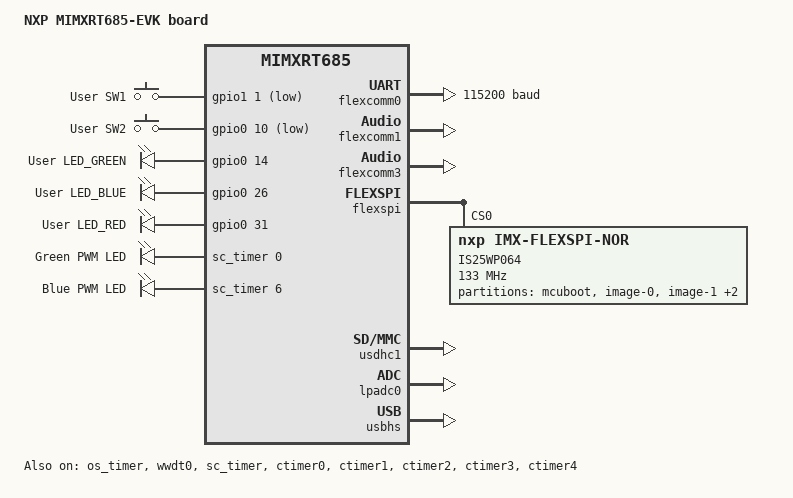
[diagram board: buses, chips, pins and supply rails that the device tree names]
/*
 * Copyright (c) 2020, NXP
 *
 * SPDX-License-Identifier: Apache-2.0
 */

/dts-v1/;

#include <nxp/nxp_rt6xx.dtsi>
#include <dt-bindings/pwm/pwm.h>

/ {
	model = "NXP MIMXRT685-EVK board";
	compatible = "nxp,mimxrt685";

	aliases {
		sw0 = &user_button_1;
		sw1 = &user_button_2;
		led0 = &green_led;
		led1 = &blue_led;
		led2 = &red_led;
		usart-0 = &flexcomm0;
		/* For pwm test suites */
		pwm-0 = &sc_timer;
		pwm-led0 = &green_pwm_led;
		green-pwm-led = &green_pwm_led;
		blue-pwm-led = &blue_pwm_led;
		red-pwm-led = &red_pwm_led;
		watchdog0 = &wwdt0;
	};

	chosen {
		zephyr,flash-controller = &flexspi;
		zephyr,flash = &is25wp064;
		zephyr,code-partition = &slot0_partition;
		zephyr,sram = &sram0;
		zephyr,console = &flexcomm0;
		zephyr,shell-uart = &flexcomm0;
	};

	gpio_keys {
		compatible = "gpio-keys";
		user_button_1: button_0 {
			label = "User SW1";
			gpios = <&gpio1 1 GPIO_ACTIVE_LOW>;
		};
		user_button_2: button_1 {
			label = "User SW2";
			gpios = <&gpio0 10 GPIO_ACTIVE_LOW>;
		};
	};

	leds {
		compatible = "gpio-leds";
		green_led: led_1 {
			gpios = <&gpio0 14 0>;
			label = "User LED_GREEN";
		};
		blue_led: led_2 {
			gpios = <&gpio0 26 0>;
			label = "User LED_BLUE";
		};
		red_led: led_3 {
			gpios = <&gpio0 31 0>;
			label = "User LED_RED";
		};
	};

	pwmleds {
		compatible = "pwm-leds";
		green_pwm_led: green_pwm_led {
			pwms = <&sc_timer 0 PWM_POLARITY_NORMAL>;
			label = "Green PWM LED";
			status = "okay";
		};
		blue_pwm_led: blue_pwm_led {
			pwms = <&sc_timer 6 PWM_POLARITY_NORMAL>;
			label = "Blue PWM LED";
			status = "okay";
		};
		red_pwm_led: red_pwm_led {
			pwms = <&sc_timer 6 PWM_POLARITY_NORMAL>;
			label = "Red PWM LED";
			status = "disabled";
		};
	};

	
	power-states {
		idle: idle {
			compatible = "zephyr,power-state";
			power-state-name = "runtime-idle";
			min-residency-us = <10>;
		};
		suspend: suspend {
			compatible = "zephyr,power-state";
			power-state-name = "suspend-to-idle";
			min-residency-us = <1000>;
		};
	};
};

&cpu0 {
	cpu-power-states = <&idle &suspend>;
};

/*
 * RT600 EVK board uses OS timer as the kernel timer
 * In case we need to switch to SYSTICK timer, then
 * replace &os_timer with &systick
 */
&os_timer {
	status = "okay";
};

&rtc {
	status = "disabled";
};

&flexcomm0 {
	compatible = "nxp,lpc-usart";
	status = "okay";
	current-speed = <115200>;
};

/* I2S receive channel */
i2s0: &flexcomm1 {
	status = "okay";
	compatible = "nxp,lpc-i2s";
	label = "I2S_0";
	#address-cells = <1>;
	#size-cells = <0>;
	dmas = <&dma0 2>;
	dma-names = "rx";
};

/* I2S transmit channel */
i2s1: &flexcomm3 {
	status = "okay";
	compatible = "nxp,lpc-i2s";
	label = "I2S_1";
	#address-cells = <1>;
	#size-cells = <0>;
	dmas = <&dma0 7>;
	dma-names = "tx";
};

&flexspi {
	status = "okay";
	ahb-prefetch;
	ahb-read-addr-opt;
	rx-clock-source = <1>;

	is25wp064: is25wp064@0 {
		compatible = "nxp,imx-flexspi-nor";
		size = <DT_SIZE_M(8)>;
		label = "IS25WP064";
		reg = <0>;
		spi-max-frequency = <133000000>;
		status = "okay";
		jedec-id = [9d 70 17];
		erase-block-size = <4096>;
		write-block-size = <1>;

		partitions {
			compatible = "fixed-partitions";
			#address-cells = <1>;
			#size-cells = <1>;

			boot_partition: partition@0 {
				label = "mcuboot";
				reg = <0x00000000 DT_SIZE_K(64)>;
			};
			slot0_partition: partition@10000 {
				label = "image-0";
				reg = <0x00010000 DT_SIZE_M(3)>;
			};
			slot1_partition: partition@310000 {
				label = "image-1";
				reg = <0x00310000 DT_SIZE_M(3)>;
			};
			scratch_partition: partition@610000 {
				label = "image-scratch";
				reg = <0x00610000 DT_SIZE_K(128)>;
			};
			storage_partition: partition@630000 {
				label = "storage";
				reg = <0x00630000 DT_SIZE_K(1856)>;
			};
		};
	};
};

&gpio0 {
	status = "okay";
};

&gpio1 {
	status = "okay";
};

&gpio2 {
	status = "okay";
};

&dma0 {
	/*
	 * The total number of dma channels available is defined by
	 * FSL_FEATURE_DMA_NUMBER_OF_CHANNELS in the SoC features file.
	 * Since memory from the heap pool is allocated based on the number
	 * of DMA channels, set this property to as many channels is needed
	 * for the platform. Adjust HEAP_MEM_POOL_SIZE in case you need more
	 * memory.
	 */
	dma-channels = <20>;
	status = "okay";
};

&wwdt0 {
	status = "okay";
};

&user_button_1 {
	status = "okay";
};

&user_button_2 {
	status = "okay";
};

&green_led {
	status = "okay";
};

&blue_led {
	status = "okay";
};

&red_led {
	status = "okay";
};

&sc_timer {
	status = "okay";
};

&usdhc1 {
	status = "okay";
	/* Quick fix for 1.8V SD cards on RT600- disable 1.8V negotiation */
	no-1-8-v;
	pwr-gpios = <&gpio2 10 GPIO_ACTIVE_HIGH>;
};

&lpadc0 {
	status = "okay";
};

zephyr_udc0: &usbhs {
	status = "okay";
};

&ctimer0 {
	status = "okay";
};

&ctimer1 {
	status = "okay";
};

&ctimer2 {
	status = "okay";
};

&ctimer3 {
	status = "okay";
};

&ctimer4 {
	status = "okay";
};
